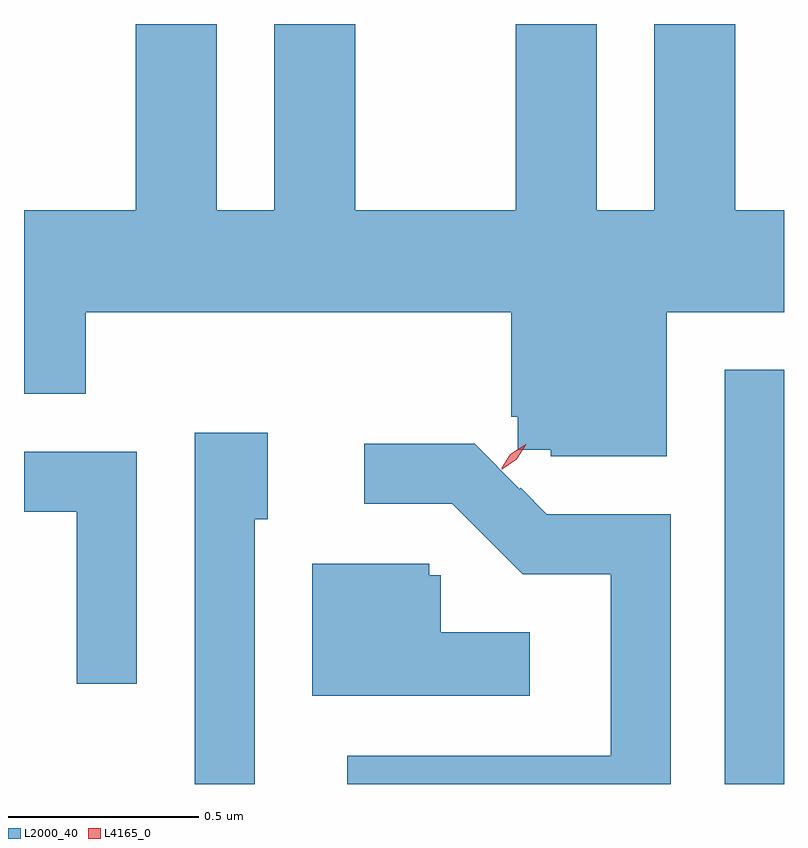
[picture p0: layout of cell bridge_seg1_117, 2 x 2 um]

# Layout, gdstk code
import gdstk
lib = gdstk.Library(unit=1e-6, precision=1e-09)
def R(c, l, rs):  # rectangles x0, y0, x1, y1
    for r in rs: c.add(gdstk.rectangle(r[:2], r[2:], *l))
def P(c, l, *ps):  # polygons
    for p in ps: c.add(gdstk.Polygon(p, *l))
L2000_40 = (2000, 40)
L4165_0 = (4165, 0)

bridge_seg1_117 = lib.new_cell('bridge_seg1_117')
R(bridge_seg1_117, L2000_40, [(1448.741,840.614,1448.897,841.704)])
P(bridge_seg1_117, L2000_40, [(1448.589,841.856),(1448.897,841.856),(1448.897,842.124),(1448.769,842.124),(1448.769,842.614),(1448.556,842.614),(1448.556,842.124),(1448.404,842.124),(1448.404,842.614),(1448.191,842.614),(1448.191,842.124),(1447.769,842.124),(1447.769,842.614),(1447.556,842.614),(1447.556,842.124),(1447.404,842.124),(1447.404,842.614),(1447.191,842.614),(1447.191,842.124),(1446.897,842.124),(1446.897,841.641),(1447.059,841.641),(1447.059,841.856),(1448.179,841.856),(1448.179,841.58),(1448.196,841.58),(1448.196,841.493),(1448.283,841.493),(1448.283,841.476),(1448.589,841.476)],
  [(1447.504,841.311),(1447.539,841.311),(1447.539,841.539),(1447.346,841.539),(1447.346,840.614),(1447.504,840.614)],
  [(1448.599,841.324),(1448.273,841.324),(1448.204,841.393),(1448.202,841.39),(1448.083,841.509),(1447.793,841.509),(1447.793,841.351),(1448.024,841.351),(1448.209,841.166),(1448.441,841.166),(1448.441,840.689),(1447.748,840.689),(1447.748,840.614),(1448.599,840.614)],
  [(1447.194,841.489),(1446.897,841.489),(1446.897,841.331),(1447.036,841.331),(1447.036,840.878),(1447.194,840.878)],
  [(1448.228,841.014),(1447.994,841.014),(1447.994,841.164),(1447.964,841.164),(1447.964,841.194),(1447.656,841.194),(1447.656,840.846),(1448.228,840.846)])
P(bridge_seg1_117, L4165_0, [(1448.154,841.442),(1448.154,841.442),(1448.179,841.482),(1448.218,841.508),(1448.219,841.508),(1448.219,841.508),(1448.194,841.468),(1448.155,841.442)],
  [(1448.154,841.445),(1448.154,841.446),(1448.177,841.482),(1448.214,841.506),(1448.215,841.506),(1448.215,841.505),(1448.192,841.468),(1448.155,841.445)])

lib.write_gds('bridge_seg1_117.gds')
